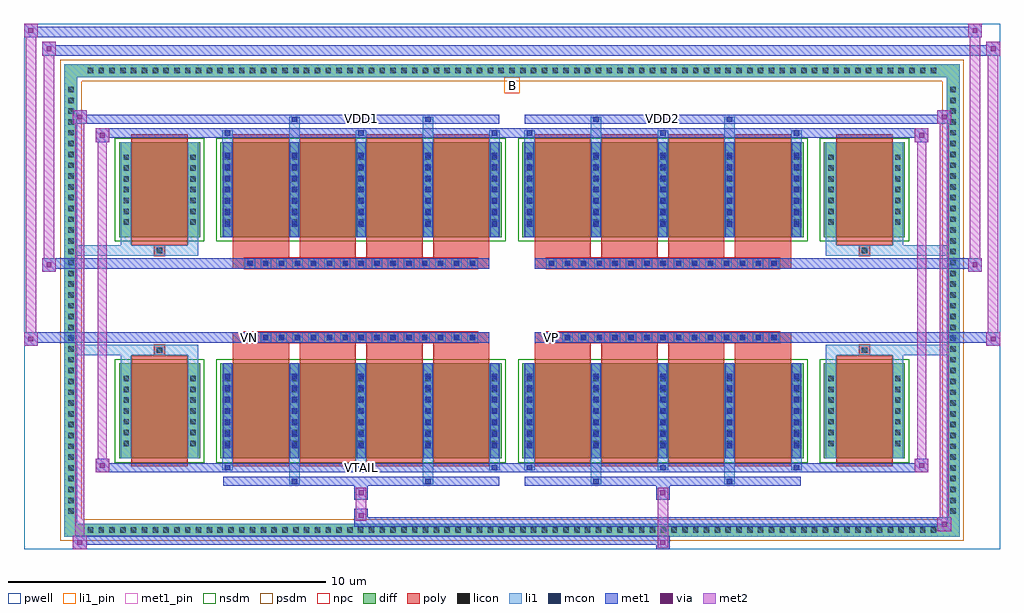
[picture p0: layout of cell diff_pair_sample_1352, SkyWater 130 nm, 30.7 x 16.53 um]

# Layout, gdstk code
import gdstk
lib = gdstk.Library(unit=1e-6, precision=5e-09)
def R(c, l, rs):  # rectangles x0, y0, x1, y1
    for r in rs: c.add(gdstk.rectangle(r[:2], r[2:], *l))
def A(c, l, x, y, w, h, nx, ny, dx, dy):  # array of equal rectangles
    R(c, l, [(x+i*dx, y+j*dy, x+i*dx+w, y+j*dy+h) for i in range(nx) for j in range(ny)])
def P(c, l, *ps):  # polygons
    for p in ps: c.add(gdstk.Polygon(p, *l))
pwell = (64, 44)
diff = (65, 20)
poly = (66, 20)
licon = (66, 44)
li1_pin = (67, 16)
li1 = (67, 20)
mcon = (67, 44)
met1_pin = (68, 16)
met1 = (68, 20)
via = (68, 44)
met2 = (69, 20)
nsdm = (93, 44)
psdm = (94, 20)
npc = (95, 20)

diff_pair_sample_1352 = lib.new_cell('diff_pair_sample_1352')
R(diff_pair_sample_1352, pwell, [(-15.35,-7.83,15.35,8.7), (-12.67,-6.02,-0.01,-0.8), (0.01,-6.02,12.67,-0.8), (-12.67,0.8,-0.01,6.02), (0.01,0.8,12.67,6.02)])
A(diff_pair_sample_1352, diff, -13.465, -7.43, 0.41, 0.41, 79, 2, 0.34, 14.45)
A(diff_pair_sample_1352, diff, -14.08, -6.835, 0.41, 0.41, 1, 40, 0, 0.34)
A(diff_pair_sample_1352, diff, 13.67, -6.835, 0.41, 0.41, 1, 40, 0, 0.34)
R(diff_pair_sample_1352, diff, [(-13.465,-7.43,13.465,-7.02), (-14.08,-6.835,-13.67,6.835), (13.67,-6.835,14.08,6.835), (-12.36,-4.975,-9.81,-1.985), (-9.17,-4.975,-0.32,-1.985), (0.32,-4.975,9.17,-1.985), (9.81,-4.975,12.36,-1.985), (-12.36,1.985,-9.81,4.975), (-9.17,1.985,-0.32,4.975), (0.32,1.985,9.17,4.975), (9.81,1.985,12.36,4.975), (-13.465,7.02,13.465,7.43)])
P(diff_pair_sample_1352, diff, [(14.08,7.43),(-14.08,7.43),(-14.08,-7.02),(-13.67,-7.02),(-13.67,7.02),(13.67,7.02),(13.67,-7.02),(-13.67,-7.02),(-14.08,-7.02),(-14.08,-7.43),(14.08,-7.43)])
A(diff_pair_sample_1352, poly, -8.78, -5.225, 1.77, 3.49, 4, 2, 2.1, 6.96)
A(diff_pair_sample_1352, poly, 0.71, -5.225, 1.77, 3.49, 4, 2, 2.1, 6.96)
A(diff_pair_sample_1352, poly, -8.78, -1.735, 1.77, 0.405, 4, 2, 2.1, 3.065)
A(diff_pair_sample_1352, poly, 0.71, -1.735, 1.77, 0.405, 4, 2, 2.1, 3.065)
A(diff_pair_sample_1352, poly, -8.41, -1.33, 0.33, 0.33, 15, 2, 0.5, 2.33)
A(diff_pair_sample_1352, poly, 1.08, -1.33, 0.33, 0.33, 15, 2, 0.5, 2.33)
R(diff_pair_sample_1352, poly, [(-11.97,-5.225,-10.2,-1.735), (10.2,-5.225,11.97,-1.735), (-11.25,-1.735,-10.92,-1.405), (-11.25,-1.735,-10.92,-1.405), (10.92,-1.735,11.25,-1.405), (10.92,-1.735,11.25,-1.405), (-8.78,-1.33,-0.71,-1), (0.71,-1.33,8.78,-1), (-8.78,1,-0.71,1.33), (0.71,1,8.78,1.33), (-11.25,1.405,-10.92,1.735), (-11.25,1.405,-10.92,1.735), (10.92,1.405,11.25,1.735), (10.92,1.405,11.25,1.735), (-11.97,1.735,-10.2,5.225), (10.2,1.735,11.97,5.225)])
A(diff_pair_sample_1352, licon, -13.345, -7.31, 0.17, 0.17, 79, 2, 0.34, 14.45)
A(diff_pair_sample_1352, licon, -13.96, -6.715, 0.17, 0.17, 1, 40, 0, 0.34)
A(diff_pair_sample_1352, licon, 13.79, -6.715, 0.17, 0.17, 1, 40, 0, 0.34)
A(diff_pair_sample_1352, licon, -12.22, -4.585, 0.17, 0.17, 1, 7, 0, 0.34)
A(diff_pair_sample_1352, licon, -10.12, -4.585, 0.17, 0.17, 1, 7, 0, 0.34)
A(diff_pair_sample_1352, licon, -9.03, -4.585, 0.17, 0.17, 5, 7, 2.1, 0.34)
A(diff_pair_sample_1352, licon, 0.46, -4.585, 0.17, 0.17, 5, 7, 2.1, 0.34)
A(diff_pair_sample_1352, licon, 9.95, -4.585, 0.17, 0.17, 1, 7, 0, 0.34)
A(diff_pair_sample_1352, licon, 12.05, -4.585, 0.17, 0.17, 1, 7, 0, 0.34)
A(diff_pair_sample_1352, licon, -8.33, -1.25, 0.17, 0.17, 15, 2, 0.5, 2.33)
A(diff_pair_sample_1352, licon, 1.16, -1.25, 0.17, 0.17, 15, 2, 0.5, 2.33)
A(diff_pair_sample_1352, licon, -12.22, 2.375, 0.17, 0.17, 1, 7, 0, 0.34)
A(diff_pair_sample_1352, licon, -10.12, 2.375, 0.17, 0.17, 1, 7, 0, 0.34)
A(diff_pair_sample_1352, licon, -9.03, 2.375, 0.17, 0.17, 5, 7, 2.1, 0.34)
A(diff_pair_sample_1352, licon, 0.46, 2.375, 0.17, 0.17, 5, 7, 2.1, 0.34)
A(diff_pair_sample_1352, licon, 9.95, 2.375, 0.17, 0.17, 1, 7, 0, 0.34)
A(diff_pair_sample_1352, licon, 12.05, 2.375, 0.17, 0.17, 1, 7, 0, 0.34)
R(diff_pair_sample_1352, licon, [(-11.17,-1.655,-11,-1.485), (11,-1.655,11.17,-1.485), (-11.17,1.485,-11,1.655), (11,1.485,11.17,1.655)])
R(diff_pair_sample_1352, li1_pin, [(-0.25,6.52,0.25,7.02)])
A(diff_pair_sample_1352, li1, -13.425, -7.39, 0.33, 0.33, 79, 2, 0.34, 14.45)
A(diff_pair_sample_1352, li1, -14.04, -6.795, 0.33, 0.33, 1, 40, 0, 0.34)
A(diff_pair_sample_1352, li1, 13.71, -6.795, 0.33, 0.33, 1, 40, 0, 0.34)
A(diff_pair_sample_1352, li1, -9.11, -5.35, 0.33, 0.375, 3, 2, 4.2, 10.325)
A(diff_pair_sample_1352, li1, -9.03, -5.35, 0.17, 0.17, 3, 2, 4.2, 10.53)
A(diff_pair_sample_1352, li1, 0.38, -5.35, 0.33, 0.375, 3, 2, 4.2, 10.325)
A(diff_pair_sample_1352, li1, 0.46, -5.35, 0.17, 0.17, 3, 2, 4.2, 10.53)
A(diff_pair_sample_1352, li1, -9.11, -4.975, 0.33, 2.99, 5, 2, 2.1, 6.96)
A(diff_pair_sample_1352, li1, 0.38, -4.975, 0.33, 2.99, 5, 2, 2.1, 6.96)
A(diff_pair_sample_1352, li1, -12.3, -4.665, 0.33, 0.33, 1, 7, 0, 0.34)
A(diff_pair_sample_1352, li1, -10.2, -4.665, 0.33, 0.33, 1, 7, 0, 0.34)
A(diff_pair_sample_1352, li1, -9.11, -4.665, 0.33, 0.33, 5, 7, 2.1, 0.34)
A(diff_pair_sample_1352, li1, 0.38, -4.665, 0.33, 0.33, 5, 7, 2.1, 0.34)
A(diff_pair_sample_1352, li1, 9.87, -4.665, 0.33, 0.33, 1, 7, 0, 0.34)
A(diff_pair_sample_1352, li1, 11.97, -4.665, 0.33, 0.33, 1, 7, 0, 0.34)
A(diff_pair_sample_1352, li1, -9.03, -4.645, 0.17, 0.17, 5, 7, 2.1, 0.36)
A(diff_pair_sample_1352, li1, -9.03, -4.645, 0.17, 2.33, 5, 2, 2.1, 6.96)
A(diff_pair_sample_1352, li1, 0.46, -4.645, 0.17, 0.17, 5, 7, 2.1, 0.36)
A(diff_pair_sample_1352, li1, 0.46, -4.645, 0.17, 2.33, 5, 2, 2.1, 6.96)
A(diff_pair_sample_1352, li1, -8.41, -1.33, 0.33, 0.33, 15, 2, 0.5, 2.33)
A(diff_pair_sample_1352, li1, 1.08, -1.33, 0.33, 0.33, 15, 2, 0.5, 2.33)
A(diff_pair_sample_1352, li1, -12.3, 2.295, 0.33, 0.33, 1, 7, 0, 0.34)
A(diff_pair_sample_1352, li1, -10.2, 2.295, 0.33, 0.33, 1, 7, 0, 0.34)
A(diff_pair_sample_1352, li1, -9.11, 2.295, 0.33, 0.33, 5, 7, 2.1, 0.34)
A(diff_pair_sample_1352, li1, 0.38, 2.295, 0.33, 0.33, 5, 7, 2.1, 0.34)
A(diff_pair_sample_1352, li1, 9.87, 2.295, 0.33, 0.33, 1, 7, 0, 0.34)
A(diff_pair_sample_1352, li1, 11.97, 2.295, 0.33, 0.33, 1, 7, 0, 0.34)
A(diff_pair_sample_1352, li1, -9.03, 2.315, 0.17, 0.17, 5, 7, 2.1, 0.36)
A(diff_pair_sample_1352, li1, 0.46, 2.315, 0.17, 0.17, 5, 7, 2.1, 0.36)
R(diff_pair_sample_1352, li1, [(-14.08,-7.43,-13.67,-7.02), (-14.08,-7.43,-13.67,-7.02), (-13.67,-7.43,13.67,-7.02), (13.67,-7.43,14.08,-7.02), (13.67,-7.43,14.08,-7.02), (-14.08,-7.02,-13.67,7.02), (13.67,-7.02,14.08,7.02), (-7.01,-5.78,-6.68,-4.975), (-6.93,-5.78,-6.76,-5.61), (-2.81,-5.78,-2.48,-4.975), (-2.73,-5.78,-2.56,-5.61), (2.48,-5.78,2.81,-4.975), (2.56,-5.78,2.73,-5.61), (6.68,-5.78,7.01,-4.975), (6.76,-5.78,6.93,-5.61), (-12.3,-4.975,-11.97,-1.985), (-10.2,-4.975,-9.87,-1.985), (9.87,-4.975,10.2,-1.985), (11.97,-4.975,12.3,-1.985), (-12.3,-1.985,-11.97,-1.405), (-10.2,-1.985,-9.87,-1.405), (9.87,-1.985,10.2,-1.405), (11.97,-1.985,12.3,-1.405), (-14.08,-1.735,-11.25,-1.405), (-12.3,-1.735,-11.25,-1.405), (-11.25,-1.735,-10.92,-1.405), (-10.92,-1.735,-9.87,-1.405), (9.87,-1.735,10.92,-1.405), (10.92,-1.735,11.25,-1.405), (10.92,-1.735,14.08,-1.405), (11.25,-1.735,12.3,-1.405), (-14.08,1.405,-11.25,1.735), (-12.3,1.405,-11.25,1.735), (-12.3,1.405,-11.97,1.985), (-11.25,1.405,-10.92,1.735), (-10.92,1.405,-9.87,1.735), (-10.2,1.405,-9.87,1.985), (9.87,1.405,10.92,1.735), (9.87,1.405,10.2,1.985), (10.92,1.405,11.25,1.735), (10.92,1.405,14.08,1.735), (11.25,1.405,12.3,1.735), (11.97,1.405,12.3,1.985), (-12.3,1.985,-11.97,4.975), (-10.2,1.985,-9.87,4.975), (9.87,1.985,10.2,4.975), (11.97,1.985,12.3,4.975), (-7.01,4.975,-6.68,5.78), (-2.81,4.975,-2.48,5.78), (2.48,4.975,2.81,5.78), (6.68,4.975,7.01,5.78), (-6.93,5.61,-6.76,5.78), (-2.73,5.61,-2.56,5.78), (2.56,5.61,2.73,5.78), (6.76,5.61,6.93,5.78), (-14.08,7.02,-13.67,7.43), (-14.08,7.02,-13.67,7.43), (-13.67,7.02,13.67,7.43), (13.67,7.02,14.08,7.43), (13.67,7.02,14.08,7.43)])
A(diff_pair_sample_1352, mcon, -9.03, -5.35, 0.17, 0.17, 3, 2, 4.2, 10.53)
A(diff_pair_sample_1352, mcon, 0.46, -5.35, 0.17, 0.17, 3, 2, 4.2, 10.53)
A(diff_pair_sample_1352, mcon, -9.03, -4.645, 0.17, 0.17, 5, 7, 2.1, 0.36)
A(diff_pair_sample_1352, mcon, 0.46, -4.645, 0.17, 0.17, 5, 7, 2.1, 0.36)
A(diff_pair_sample_1352, mcon, -8.33, -1.25, 0.17, 0.17, 15, 2, 0.5, 2.33)
A(diff_pair_sample_1352, mcon, 1.16, -1.25, 0.17, 0.17, 15, 2, 0.5, 2.33)
A(diff_pair_sample_1352, mcon, -9.03, 2.315, 0.17, 0.17, 5, 7, 2.1, 0.36)
A(diff_pair_sample_1352, mcon, 0.46, 2.315, 0.17, 0.17, 5, 7, 2.1, 0.36)
R(diff_pair_sample_1352, mcon, [(-6.93,-5.78,-6.76,-5.61), (-2.73,-5.78,-2.56,-5.61), (2.56,-5.78,2.73,-5.61), (6.76,-5.78,6.93,-5.61), (-6.93,5.61,-6.76,5.78), (-2.73,5.61,-2.56,5.78), (2.56,5.61,2.73,5.78), (6.76,5.61,6.93,5.78)])
R(diff_pair_sample_1352, met1_pin, [(-4.88,-5.39,-4.61,-5.12), (-8.38,-1.29,-8.11,-1.02), (1.11,-1.29,1.38,-1.02), (-4.88,5.57,-4.61,5.84), (4.61,5.57,4.88,5.84)])
A(diff_pair_sample_1352, met1, -9.09, -5.41, 0.29, 0.29, 3, 2, 4.2, 10.53)
A(diff_pair_sample_1352, met1, 0.4, -5.41, 0.29, 0.29, 3, 2, 4.2, 10.53)
A(diff_pair_sample_1352, met1, -9.09, -4.975, 0.29, 2.99, 5, 2, 2.1, 6.96)
A(diff_pair_sample_1352, met1, 0.4, -4.975, 0.29, 2.99, 5, 2, 2.1, 6.96)
A(diff_pair_sample_1352, met1, -9.09, -4.705, 0.29, 0.29, 5, 7, 2.1, 0.36)
A(diff_pair_sample_1352, met1, 0.4, -4.705, 0.29, 0.29, 5, 7, 2.1, 0.36)
A(diff_pair_sample_1352, met1, -8.39, -1.31, 0.29, 0.29, 15, 2, 0.5, 2.33)
A(diff_pair_sample_1352, met1, 1.1, -1.31, 0.29, 0.29, 15, 2, 0.5, 2.33)
A(diff_pair_sample_1352, met1, -9.09, 2.255, 0.29, 0.29, 5, 7, 2.1, 0.36)
A(diff_pair_sample_1352, met1, 0.4, 2.255, 0.29, 0.29, 5, 7, 2.1, 0.36)
R(diff_pair_sample_1352, met1, [(-13.81,-7.83,-13.38,-7.4), (4.53,-7.83,4.96,-7.4), (-13.81,-7.69,4.96,-7.4), (13.38,-7.26,13.81,-6.83), (-4.96,-7.12,13.81,-6.83), (-4.96,-6.98,-4.53,-6.55), (-4.96,-6.27,-4.53,-5.84), (4.53,-6.27,4.96,-5.84), (-9.09,-5.84,-0.4,-5.55), (-6.99,-5.84,-6.7,-5.55), (-2.79,-5.84,-2.5,-5.55), (0.4,-5.84,9.09,-5.55), (2.5,-5.84,2.79,-5.55), (6.7,-5.84,6.99,-5.55), (-13.1,-5.41,-12.67,-4.98), (-13.1,-5.41,-9.09,-5.12), (-9.09,-5.41,-0.4,-5.12), (-0.4,-5.41,0.4,-5.12), (0.4,-5.41,9.09,-5.12), (9.09,-5.41,13.1,-5.12), (12.67,-5.41,13.1,-4.98), (-15.35,-1.43,-14.92,-1), (14.92,-1.43,15.35,-1), (-15.35,-1.33,-0.71,-1), (-8.78,-1.33,-0.71,-1), (0.71,-1.33,8.78,-1), (0.71,-1.33,15.35,-1), (-14.78,0.9,-14.35,1.33), (14.35,0.9,14.78,1.33), (-14.78,1,-8.78,1.33), (-8.78,1,-0.71,1.33), (0.71,1,8.78,1.33), (8.78,1,14.78,1.33), (-13.1,4.98,-12.67,5.41), (12.67,4.98,13.1,5.41), (-13.1,5.12,-9.09,5.41), (-9.09,5.12,-0.4,5.41), (-0.4,5.12,0.4,5.41), (0.4,5.12,9.09,5.41), (9.09,5.12,13.1,5.41), (-13.81,5.55,-13.38,5.98), (-13.81,5.55,-9.09,5.84), (-9.09,5.55,-0.4,5.84), (-6.99,5.55,-6.7,5.84), (-2.79,5.55,-2.5,5.84), (0.4,5.55,9.09,5.84), (2.5,5.55,2.79,5.84), (6.7,5.55,6.99,5.84), (9.09,5.55,13.81,5.84), (13.38,5.55,13.81,5.98), (-14.78,7.7,-14.35,8.13), (-14.78,7.7,-12.67,8.03), (-12.67,7.7,12.67,8.03), (12.67,7.7,15.35,8.03), (14.92,7.7,15.35,8.13), (-15.35,8.27,-14.92,8.7), (-15.35,8.27,-12.67,8.6), (-12.67,8.27,12.67,8.6), (12.67,8.27,14.78,8.6), (14.35,8.27,14.78,8.7)])
R(diff_pair_sample_1352, via, [(-13.67,-7.69,-13.52,-7.54), (4.67,-7.69,4.82,-7.54), (13.52,-7.12,13.67,-6.97), (-4.82,-6.84,-4.67,-6.69), (-4.82,-6.13,-4.67,-5.98), (4.67,-6.13,4.82,-5.98), (-12.96,-5.27,-12.81,-5.12), (12.81,-5.27,12.96,-5.12), (-15.21,-1.29,-15.06,-1.14), (15.06,-1.29,15.21,-1.14), (-14.64,1.04,-14.49,1.19), (14.49,1.04,14.64,1.19), (-12.96,5.12,-12.81,5.27), (12.81,5.12,12.96,5.27), (-13.67,5.69,-13.52,5.84), (13.52,5.69,13.67,5.84), (-14.64,7.84,-14.49,7.99), (15.06,7.84,15.21,7.99), (-15.21,8.41,-15.06,8.56), (14.49,8.41,14.64,8.56)])
R(diff_pair_sample_1352, met2, [(-13.81,-7.83,-13.38,-7.4), (-13.74,-7.83,-13.45,5.98), (-13.45,-7.83,-13.38,-7.4), (-13.76,-7.78,-13.43,-7.45), (4.58,-7.78,4.91,-7.45), (4.58,-7.45,4.91,-6.22), (13.38,-7.26,13.81,-6.83), (13.45,-7.26,13.74,5.98), (13.74,-7.26,13.81,-6.83), (13.43,-7.21,13.76,-6.88), (-4.91,-6.93,-4.58,-6.6), (-4.91,-6.6,-4.58,-6.22), (-4.91,-6.22,-4.58,-5.89), (4.58,-6.22,4.91,-5.89), (-13.1,-5.41,-12.67,-4.98), (-13.03,-5.41,-12.74,5.41), (-12.74,-5.41,-12.67,-4.98), (12.67,-5.41,13.1,-4.98), (12.74,-5.41,13.03,5.41), (13.03,-5.41,13.1,-4.98), (-13.05,-5.36,-12.72,-5.03), (12.72,-5.36,13.05,-5.03), (-15.35,-1.43,-14.92,-1), (-15.3,-1.43,-14.97,8.7), (-14.97,-1.43,-14.92,-1), (14.92,-1.43,15.35,-1), (14.97,-1.43,15.3,8.13), (15.3,-1.43,15.35,-1), (-15.3,-1.38,-14.97,-1.05), (14.97,-1.38,15.3,-1.05), (-14.78,0.9,-14.35,1.33), (-14.73,0.9,-14.4,8.13), (-14.4,0.9,-14.35,1.33), (14.35,0.9,14.78,1.33), (14.4,0.9,14.73,8.7), (14.73,0.9,14.78,1.33), (-14.73,0.95,-14.4,1.28), (14.4,0.95,14.73,1.28), (-13.1,4.98,-12.67,5.41), (-12.74,4.98,-12.67,5.41), (12.67,4.98,13.1,5.41), (13.03,4.98,13.1,5.41), (-13.05,5.03,-12.72,5.36), (12.72,5.03,13.05,5.36), (-13.81,5.55,-13.38,5.98), (-13.45,5.55,-13.38,5.98), (13.38,5.55,13.81,5.98), (13.74,5.55,13.81,5.98), (-13.76,5.6,-13.43,5.93), (13.43,5.6,13.76,5.93), (-14.78,7.7,-14.35,8.13), (-14.4,7.7,-14.35,8.13), (14.92,7.7,15.35,8.13), (15.3,7.7,15.35,8.13), (-14.73,7.75,-14.4,8.08), (14.97,7.75,15.3,8.08), (-15.35,8.27,-14.92,8.7), (-14.97,8.27,-14.92,8.7), (14.35,8.27,14.78,8.7), (14.73,8.27,14.78,8.7), (-15.3,8.32,-14.97,8.65), (14.4,8.32,14.73,8.65)])
R(diff_pair_sample_1352, nsdm, [(-12.49,-5.105,-9.68,-1.855), (-9.3,-5.105,-0.19,-1.855), (0.19,-5.105,9.3,-1.855), (9.68,-5.105,12.49,-1.855), (-12.49,1.855,-9.68,5.105), (-9.3,1.855,-0.19,5.105), (0.19,1.855,9.3,5.105), (9.68,1.855,12.49,5.105)])
P(diff_pair_sample_1352, psdm, [(14.21,7.56),(-14.21,7.56),(-14.21,-6.89),(-13.54,-6.89),(-13.54,6.89),(13.54,6.89),(13.54,-6.89),(-13.54,-6.89),(-14.21,-6.89),(-14.21,-7.56),(14.21,-7.56)])
A(diff_pair_sample_1352, npc, -8.43, -1.35, 0.37, 0.37, 15, 2, 0.5, 2.33)
A(diff_pair_sample_1352, npc, 1.06, -1.35, 0.37, 0.37, 15, 2, 0.5, 2.33)
R(diff_pair_sample_1352, npc, [(-11.27,-1.755,-10.9,-1.385), (10.9,-1.755,11.27,-1.385), (-8.43,-1.35,-7.56,-0.98), (-8.43,-1.35,-7.56,-0.98), (-7.93,-1.35,-7.06,-0.98), (-7.93,-1.35,-7.06,-0.98), (-7.43,-1.35,-6.56,-0.98), (-7.43,-1.35,-6.56,-0.98), (-6.93,-1.35,-6.06,-0.98), (-6.93,-1.35,-6.06,-0.98), (-6.43,-1.35,-5.56,-0.98), (-6.43,-1.35,-5.56,-0.98), (-5.93,-1.35,-5.06,-0.98), (-5.93,-1.35,-5.06,-0.98), (-5.43,-1.35,-4.56,-0.98), (-5.43,-1.35,-4.56,-0.98), (-4.93,-1.35,-4.06,-0.98), (-4.93,-1.35,-4.06,-0.98), (-4.43,-1.35,-3.56,-0.98), (-4.43,-1.35,-3.56,-0.98), (-3.93,-1.35,-3.06,-0.98), (-3.93,-1.35,-3.06,-0.98), (-3.43,-1.35,-2.56,-0.98), (-3.43,-1.35,-2.56,-0.98), (-2.93,-1.35,-2.06,-0.98), (-2.93,-1.35,-2.06,-0.98), (-2.43,-1.35,-1.56,-0.98), (-2.43,-1.35,-1.56,-0.98), (-1.93,-1.35,-1.06,-0.98), (-1.93,-1.35,-1.06,-0.98), (1.06,-1.35,1.93,-0.98), (1.06,-1.35,1.93,-0.98), (1.56,-1.35,2.43,-0.98), (1.56,-1.35,2.43,-0.98), (2.06,-1.35,2.93,-0.98), (2.06,-1.35,2.93,-0.98), (2.56,-1.35,3.43,-0.98), (2.56,-1.35,3.43,-0.98), (3.06,-1.35,3.93,-0.98), (3.06,-1.35,3.93,-0.98), (3.56,-1.35,4.43,-0.98), (3.56,-1.35,4.43,-0.98), (4.06,-1.35,4.93,-0.98), (4.06,-1.35,4.93,-0.98), (4.56,-1.35,5.43,-0.98), (4.56,-1.35,5.43,-0.98), (5.06,-1.35,5.93,-0.98), (5.06,-1.35,5.93,-0.98), (5.56,-1.35,6.43,-0.98), (5.56,-1.35,6.43,-0.98), (6.06,-1.35,6.93,-0.98), (6.06,-1.35,6.93,-0.98), (6.56,-1.35,7.43,-0.98), (6.56,-1.35,7.43,-0.98), (7.06,-1.35,7.93,-0.98), (7.06,-1.35,7.93,-0.98), (7.56,-1.35,8.43,-0.98), (7.56,-1.35,8.43,-0.98), (-8.43,0.98,-7.56,1.35), (-8.43,0.98,-7.56,1.35), (-7.93,0.98,-7.06,1.35), (-7.93,0.98,-7.06,1.35), (-7.43,0.98,-6.56,1.35), (-7.43,0.98,-6.56,1.35), (-6.93,0.98,-6.06,1.35), (-6.93,0.98,-6.06,1.35), (-6.43,0.98,-5.56,1.35), (-6.43,0.98,-5.56,1.35), (-5.93,0.98,-5.06,1.35), (-5.93,0.98,-5.06,1.35), (-5.43,0.98,-4.56,1.35), (-5.43,0.98,-4.56,1.35), (-4.93,0.98,-4.06,1.35), (-4.93,0.98,-4.06,1.35), (-4.43,0.98,-3.56,1.35), (-4.43,0.98,-3.56,1.35), (-3.93,0.98,-3.06,1.35), (-3.93,0.98,-3.06,1.35), (-3.43,0.98,-2.56,1.35), (-3.43,0.98,-2.56,1.35), (-2.93,0.98,-2.06,1.35), (-2.93,0.98,-2.06,1.35), (-2.43,0.98,-1.56,1.35), (-2.43,0.98,-1.56,1.35), (-1.93,0.98,-1.06,1.35), (-1.93,0.98,-1.06,1.35), (1.06,0.98,1.93,1.35), (1.06,0.98,1.93,1.35), (1.56,0.98,2.43,1.35), (1.56,0.98,2.43,1.35), (2.06,0.98,2.93,1.35), (2.06,0.98,2.93,1.35), (2.56,0.98,3.43,1.35), (2.56,0.98,3.43,1.35), (3.06,0.98,3.93,1.35), (3.06,0.98,3.93,1.35), (3.56,0.98,4.43,1.35), (3.56,0.98,4.43,1.35), (4.06,0.98,4.93,1.35), (4.06,0.98,4.93,1.35), (4.56,0.98,5.43,1.35), (4.56,0.98,5.43,1.35), (5.06,0.98,5.93,1.35), (5.06,0.98,5.93,1.35), (5.56,0.98,6.43,1.35), (5.56,0.98,6.43,1.35), (6.06,0.98,6.93,1.35), (6.06,0.98,6.93,1.35), (6.56,0.98,7.43,1.35), (6.56,0.98,7.43,1.35), (7.06,0.98,7.93,1.35), (7.06,0.98,7.93,1.35), (7.56,0.98,8.43,1.35), (7.56,0.98,8.43,1.35), (-11.27,1.385,-10.9,1.755), (10.9,1.385,11.27,1.755)])
diff_pair_sample_1352.add(gdstk.Label('VTAIL', (-4.745,-5.255), layer=68, texttype=5))
diff_pair_sample_1352.add(gdstk.Label('VN', (-8.245,-1.155), layer=68, texttype=5))
diff_pair_sample_1352.add(gdstk.Label('VP', (1.245,-1.155), layer=68, texttype=5))
diff_pair_sample_1352.add(gdstk.Label('B', (0,6.77), layer=67, texttype=5))
diff_pair_sample_1352.add(gdstk.Label('VDD2', (4.745,5.705), layer=68, texttype=5))
diff_pair_sample_1352.add(gdstk.Label('VDD1', (-4.745,5.705), layer=68, texttype=5))

lib.write_gds('diff_pair_sample_1352.gds')
